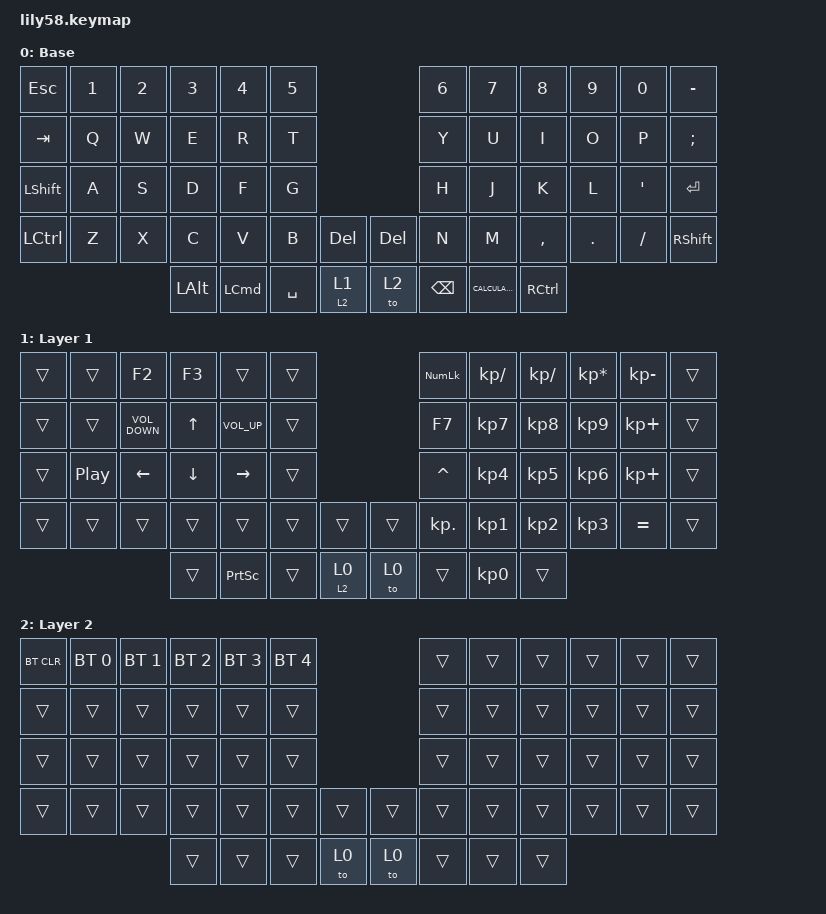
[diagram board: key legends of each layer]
/*
 * Copyright (c) 2020 The ZMK Contributors
 *
 * SPDX-License-Identifier: MIT
 */

#include <behaviors.dtsi>
#include <dt-bindings/zmk/bt.h>
#include <dt-bindings/zmk/keys.h>

/ {
    behaviors {
        to_mo: to_mo {
            compatible = "zmk,behavior-hold-tap";
            #binding-cells = <2>;
            tapping-term-ms = <200>;
            bindings = <&mo>, <&to>;
        };
    };

    keymap {
        compatible = "zmk,keymap";

        default_layer {
            // ------------------------------------------------------------------------------------------------------------
            // |  ESC  |  1  |  2  |  3   |  4   |  5   |                   |  6   |  7    |  8    |  9   |   0   |   `   |
            // |  TAB  |  Q  |  W  |  E   |  R   |  T   |                   |  Y   |  U    |  I    |  O   |   P   |   -   |
            // |  CTRL |  A  |  S  |  D   |  F   |  G   |                   |  H   |  J    |  K    |  L   |   ;   |   '   |
            // | SHIFT |  Z  |  X  |  C   |  V   |  B   |   "["  |  |  "]"  |  N   |  M    |  ,    |  .   |   /   | SHIFT |
            //                     | ALT  | GUI  | LOWER|  SPACE |  | ENTER | RAISE| BSPC  | GUI   |

            display-name = "Base";
            bindings = <
&kp ESC           &kp N1  &kp N2  &kp N3    &kp N4    &kp N5                               &kp N6         &kp N7            &kp N8             &kp N9   &kp N0            &kp MINUS
&kp TAB           &kp Q   &kp W   &kp E     &kp R     &kp T                                &kp Y          &kp U             &kp I              &kp O    &kp P             &kp SEMICOLON
&kp LEFT_SHIFT    &kp A   &kp S   &kp D     &kp F     &kp G                                &kp H          &kp J             &kp K              &kp L    &kp SINGLE_QUOTE  &kp ENTER
&kp LEFT_CONTROL  &kp Z   &kp X   &kp C     &kp V     &kp B      &kp DELETE    &kp DELETE  &kp N          &kp M             &kp COMMA          &kp DOT  &kp FSLH          &kp RSHFT
                                  &kp LALT  &kp LCMD  &kp SPACE  &to_mo 2 1         &to 2       &kp BACKSPACE  &kp K_CALCULATOR  &kp RIGHT_CONTROL
            >;
        };

        lower_layer {
            // ------------------------------------------------------------------------------------------------------------
            // | BTCLR | BT1 | BT2 |  BT3 |  BT4 |  BT5 |                   |      |       |       |      |       |       |
            // |  F1   |  F2 |  F3 |  F4  |  F5  |  F6  |                   |  F7  |  F8   |  F9   |  F10 |  F11  |  F12  |
            // |   `   |  !  |  @  |  #   |  $   |  %   |                   |  ^   |  &    |  *    |  (   |   )   |   ~   |
            // |       |     |     |      |      |      |        |  |       |      |  _    |  +    |  {   |   }   |  "|"  |
            //                     |      |      |      |        |  |       |      |       |       |

            display-name = "Layer 1";
            bindings = <
&trans  &trans            &kp F2             &kp F3        &trans           &trans                         &kp KP_NUMLOCK  &kp KP_DIVIDE    &kp KP_DIVIDE    &kp KP_MULTIPLY  &kp KP_MINUS  &trans
&trans  &trans            &kp C_VOLUME_DOWN  &kp UP_ARROW  &kp C_VOLUME_UP  &trans                         &kp F7          &kp KP_NUMBER_7  &kp KP_NUMBER_8  &kp KP_NUMBER_9  &kp KP_PLUS   &trans
&trans  &kp C_PLAY_PAUSE  &kp LEFT           &kp DOWN      &kp RIGHT        &trans                         &kp CARET       &kp KP_NUMBER_4  &kp KP_NUMBER_5  &kp KP_NUMBER_6  &kp KP_PLUS   &trans
&trans  &trans            &trans             &trans        &trans           &trans  &trans         &trans  &kp KP_DOT      &kp KP_NUMBER_1  &kp KP_NUMBER_2  &kp KP_NUMBER_3  &kp EQUAL     &trans
                                             &trans        &kp PRINTSCREEN  &trans  &to_mo 2 0     &to 0   &trans          &kp KP_NUMBER_0  &trans
            >;
        };

        raise_layer {
            // ------------------------------------------------------------------------------------------------------------
            // |       |     |     |      |      |      |                   |      |       |       |      |       |       |
            // |   `   |  1  |  2  |  3   |  4   |  5   |                   |  6   |   7   |   8   |  9   |   0   |       |
            // |   F1  |  F2 |  F3 |  F4  |  F5  |  F6  |                   |      |   <-  |   v   |  ^   |  ->   |       |
            // |   F7  |  F8 |  F9 |  F10 |  F11 |  F12 |        |  |       |  +   |   -   |   =   |  [   |   ]   |   \   |
            //                     |      |      |      |        |  |       |      |       |       |

            display-name = "Layer 2";
            bindings = <
&bt BT_CLR  &bt BT_SEL 0  &bt BT_SEL 1  &bt BT_SEL 2  &bt BT_SEL 3  &bt BT_SEL 4                    &trans  &trans  &trans  &trans  &trans  &trans
&trans      &trans        &trans        &trans        &trans        &trans                          &trans  &trans  &trans  &trans  &trans  &trans
&trans      &trans        &trans        &trans        &trans        &trans                          &trans  &trans  &trans  &trans  &trans  &trans
&trans      &trans        &trans        &trans        &trans        &trans        &trans    &trans  &trans  &trans  &trans  &trans  &trans  &trans
                                        &trans        &trans        &trans        &to 0     &to 0   &trans  &trans  &trans
            >;
        };

        extra_1 { status = "reserved"; };

        extra_2 { status = "reserved"; };

        extra_3 { status = "reserved"; };
    };
};
